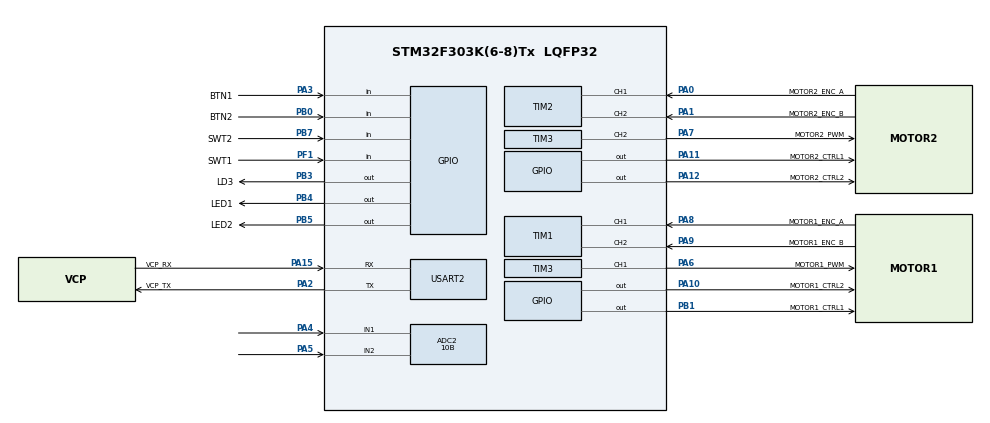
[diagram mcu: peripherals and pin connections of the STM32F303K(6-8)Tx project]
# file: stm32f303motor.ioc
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ADC2.Channel-0\#ChannelRegularConversion=ADC_CHANNEL_1
ADC2.Channel-1\#ChannelRegularConversion=ADC_CHANNEL_2
ADC2.ContinuousConvMode=ENABLE
ADC2.DMAContinuousRequests=ENABLE
ADC2.NbrOfConversion=2
ADC2.NbrOfConversionFlag=1
ADC2.Offset-0\#ChannelRegularConversion=0
ADC2.Offset-1\#ChannelRegularConversion=0
ADC2.OffsetNumber-0\#ChannelRegularConversion=ADC_OFFSET_NONE
ADC2.OffsetNumber-1\#ChannelRegularConversion=ADC_OFFSET_NONE
ADC2.Rank-0\#ChannelRegularConversion=1
ADC2.Rank-1\#ChannelRegularConversion=2
ADC2.Resolution=ADC_RESOLUTION_10B
ADC2.SamplingTime-0\#ChannelRegularConversion=ADC_SAMPLETIME_601CYCLES_5
ADC2.SamplingTime-1\#ChannelRegularConversion=ADC_SAMPLETIME_601CYCLES_5
ADC2.SamplingTimeOPAMP-1\#ChannelRegularConversion=ADC_SAMPLETIME_4CYCLES_5
ADC2.SubFamily=STM32F303x8
Dma.ADC2.0.Direction=DMA_PERIPH_TO_MEMORY
Dma.ADC2.0.Instance=DMA1_Channel2
Dma.ADC2.0.MemDataAlignment=DMA_MDATAALIGN_HALFWORD
Dma.ADC2.0.MemInc=DMA_MINC_ENABLE
Dma.ADC2.0.Mode=DMA_CIRCULAR
Dma.ADC2.0.PeriphDataAlignment=DMA_PDATAALIGN_HALFWORD
Dma.ADC2.0.PeriphInc=DMA_PINC_DISABLE
Dma.ADC2.0.Priority=DMA_PRIORITY_LOW
Dma.Request0=ADC2
Mcu.Family=STM32F3
Mcu.Name=STM32F303K(6-8)Tx
Mcu.Package=LQFP32
Mcu.UserConstants=MOTOR1_ENC_TIM,TIM1;MOTOR_PWM_TIM,TIM3;MOTOR2_ENC_TIM,TIM2;ENC_UPDATE_TIM,TIM6;KEY_CHECK_TIM,TIM7
NVIC.DMA1_Channel2_IRQn=true\:0\:0\:false\:false\:true\:false\:true
NVIC.PriorityGroup=NVIC_PRIORITYGROUP_4
NVIC.TIM6_DAC1_IRQn=true\:0\:0\:false\:false\:true\:true\:true
PA0.GPIO_Label=MOTOR2_ENC_A
PA0.Signal=S_TIM2_CH1_ETR
PA1.GPIO_Label=MOTOR2_ENC_B
PA1.Signal=S_TIM2_CH2
PA10.GPIO_Label=MOTOR1_CTRL2
PA10.Signal=GPIO_Output
PA11.GPIO_Label=MOTOR2_CTRL1
PA11.Signal=GPIO_Output
PA12.GPIO_Label=MOTOR2_CTRL2
PA12.Signal=GPIO_Output
PA13.GPIO_Label=SWDIO
PA13.Mode=Serial_Wire
PA13.Signal=SYS_JTMS-SWDIO
PA14.GPIO_Label=SWCLK
PA14.Mode=Serial_Wire
PA14.Signal=SYS_JTCK-SWCLK
PA15.GPIO_Label=VCP_RX
PA15.Mode=Asynchronous
PA15.Signal=USART2_RX
PA2.GPIO_Label=VCP_TX
PA2.Mode=Asynchronous
PA2.Signal=USART2_TX
PA3.GPIO_Label=BTN1
PA3.GPIO_PuPd=GPIO_PULLUP
PA3.Signal=GPIO_Input
PA4.Mode=IN1-Single-Ended
PA4.Signal=ADC2_IN1
PA5.Mode=IN2-Single-Ended
PA5.Signal=ADC2_IN2
PA6.GPIO_Label=MOTOR1_PWM
PA6.Signal=S_TIM3_CH1
PA7.GPIO_Label=MOTOR2_PWM
PA7.Signal=S_TIM3_CH2
PA8.GPIO_Label=MOTOR1_ENC_A
PA8.Signal=S_TIM1_CH1
PA9.GPIO_Label=MOTOR1_ENC_B
PA9.Signal=S_TIM1_CH2
PB0.GPIO_Label=BTN2
PB0.GPIO_PuPd=GPIO_PULLUP
PB0.Signal=GPIO_Input
PB1.GPIO_Label=MOTOR1_CTRL1
PB1.Signal=GPIO_Output
PB3.GPIO_Label=LD3
PB3.Signal=GPIO_Output
PB4.GPIO_Label=LED1
PB4.Signal=GPIO_Output
PB5.GPIO_Label=LED2
PB5.Signal=GPIO_Output
PB7.GPIO_Label=SWT2
PB7.GPIO_PuPd=GPIO_PULLUP
PB7.Signal=GPIO_Input
PF0\ /\ OSC_IN.GPIO_Label=MCO
PF0\ /\ OSC_IN.Signal=RCC_OSC_IN
PF1\ /\ OSC_OUT.GPIO_Label=SWT1
PF1\ /\ OSC_OUT.GPIO_PuPd=GPIO_PULLUP
PF1\ /\ OSC_OUT.Signal=GPIO_Input
ProjectManager.HeapSize=0x200
ProjectManager.StackSize=0x400
ProjectManager.TargetToolchain=STM32CubeIDE
RCC.AHBFreq_Value=64000000
RCC.APB1CLKDivider=RCC_HCLK_DIV2
RCC.APB1Freq_Value=32000000
RCC.APB1TimFreq_Value=64000000
RCC.APB2Freq_Value=64000000
RCC.APB2TimFreq_Value=64000000
RCC.CortexFreq_Value=64000000
RCC.HCLKFreq_Value=64000000
RCC.HSE_VALUE=8000000
RCC.HSI_VALUE=8000000
RCC.PLLMUL=RCC_PLL_MUL16
RCC.SYSCLKFreq_VALUE=64000000
RCC.SYSCLKSourceVirtual=RCC_SYSCLKSOURCE_PLLCLK
SH.S_TIM1_CH1.0=TIM1_CH1,Encoder_Interface
SH.S_TIM1_CH2.0=TIM1_CH2,Encoder_Interface
SH.S_TIM2_CH1_ETR.0=TIM2_CH1,Encoder_Interface
SH.S_TIM2_CH2.0=TIM2_CH2,Encoder_Interface
SH.S_TIM3_CH1.0=TIM3_CH1,PWM Generation1 CH1
SH.S_TIM3_CH2.0=TIM3_CH2,PWM Generation2 CH2
TIM3.Channel-PWM\ Generation1\ CH1=TIM_CHANNEL_1
TIM3.Channel-PWM\ Generation2\ CH2=TIM_CHANNEL_2
TIM3.Period=1023
TIM6.Period=99
TIM6.Prescaler=63
TIM7.Period=9999
TIM7.Prescaler=63
USART2.VirtualMode-Asynchronous=VM_ASYNC
VP_TIM6_VS_ClockSourceINT.Mode=Enable_Timer
VP_TIM7_VS_ClockSourceINT.Mode=Enable_Timer
board=NUCLEO-F303K8

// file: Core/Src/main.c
/* USER CODE BEGIN Header */
/**
 ******************************************************************************
 * @file           : main.c
 * @brief          : Main program body
 ******************************************************************************
 * @attention
 *
 * <h2><center>&copy; Copyright (c) 2021 STMicroelectronics.
 * All rights reserved.</center></h2>
 *
 * This software component is licensed by ST under BSD 3-Clause license,
 * the "License"; You may not use this file except in compliance with the
 * License. You may obtain a copy of the License at:
 *                        opensource.org/licenses/BSD-3-Clause
 *
 ******************************************************************************
 */
/* USER CODE END Header */
#include "main.h"

void SystemClock_Config(void);
static void MX_GPIO_Init(void);
static void MX_USART2_UART_Init(void);
static void MX_DMA_Init(void);
static void MX_ADC2_Init(void);
static void MX_TIM1_Init(void);
static void MX_TIM2_Init(void);
static void MX_TIM3_Init(void);
static void MX_TIM6_Init(void);
static void MX_TIM7_Init(void);
/* USER CODE BEGIN PFP */
extern void keyTaskInit(void);
extern void encoderTaskInit(void);
extern void adcTaskInit(void);
extern void motorTaskInit(void);
extern void keyTaskProc(TaskResource *);
extern void encoderTaskProc(TaskResource *);
extern void adcTaskProc(TaskResource *);
extern void motorTaskProc(TaskResource *);
/* USER CODE END PFP */

int main(void)
{

  /* MCU Configuration--------------------------------------------------------*/

  /* Reset of all peripherals, Initializes the Flash interface and the Systick. */

  LL_APB2_GRP1_EnableClock(LL_APB2_GRP1_PERIPH_SYSCFG);
  LL_APB1_GRP1_EnableClock(LL_APB1_GRP1_PERIPH_PWR);

  NVIC_SetPriorityGrouping(NVIC_PRIORITYGROUP_4);

  /* System interrupt init*/
  /* SysTick_IRQn interrupt configuration */
  NVIC_SetPriority(SysTick_IRQn, NVIC_EncodePriority(NVIC_GetPriorityGrouping(),15, 0));

  /* Configure the system clock */
  SystemClock_Config();

  /* Initialize all configured peripherals */
  MX_GPIO_Init();
  MX_USART2_UART_Init();
  MX_DMA_Init();
  MX_ADC2_Init();
  MX_TIM1_Init();
  MX_TIM2_Init();
  MX_TIM3_Init();
  MX_TIM6_Init();
  MX_TIM7_Init();
  /* USER CODE BEGIN 2 */
  keyTaskInit();
  encoderTaskInit();
  adcTaskInit();
  motorTaskInit();
  /* USER CODE END 2 */

  /* Infinite loop */
  while (1)
  {

    /* USER CODE BEGIN 3 */
    TaskResource res[2] = {0};
    keyTaskProc(res);
    encoderTaskProc(res);
    adcTaskProc(res);
    motorTaskProc(res);
    LL_GPIO_TogglePin(LD3_GPIO_Port, LD3_Pin);
  }
  /* USER CODE END 3 */
}

void SystemClock_Config(void)
{
  LL_FLASH_SetLatency(LL_FLASH_LATENCY_2);
  while(LL_FLASH_GetLatency()!= LL_FLASH_LATENCY_2)
  {
  }
  LL_RCC_HSI_Enable();

   /* Wait till HSI is ready */
  while(LL_RCC_HSI_IsReady() != 1)
  {

  }
  LL_RCC_HSI_SetCalibTrimming(16);
  LL_RCC_PLL_ConfigDomain_SYS(LL_RCC_PLLSOURCE_HSI_DIV_2, LL_RCC_PLL_MUL_16);
  LL_RCC_PLL_Enable();

   /* Wait till PLL is ready */
  while(LL_RCC_PLL_IsReady() != 1)
  {

  }
  LL_RCC_SetAHBPrescaler(LL_RCC_SYSCLK_DIV_1);
  LL_RCC_SetAPB1Prescaler(LL_RCC_APB1_DIV_2);
  LL_RCC_SetAPB2Prescaler(LL_RCC_APB2_DIV_1);
  LL_RCC_SetSysClkSource(LL_RCC_SYS_CLKSOURCE_PLL);

   /* Wait till System clock is ready */
  while(LL_RCC_GetSysClkSource() != LL_RCC_SYS_CLKSOURCE_STATUS_PLL)
  {

  }
  LL_Init1msTick(64000000);
  LL_SetSystemCoreClock(64000000);
  LL_RCC_SetTIMClockSource(LL_RCC_TIM1_CLKSOURCE_PCLK2);
  LL_RCC_SetADCClockSource(LL_RCC_ADC12_CLKSRC_PLL_DIV_1);
}

static void MX_ADC2_Init(void)
{

  LL_ADC_InitTypeDef ADC_InitStruct = {0};
  LL_ADC_REG_InitTypeDef ADC_REG_InitStruct = {0};

  LL_GPIO_InitTypeDef GPIO_InitStruct = {0};

  /* Peripheral clock enable */
  LL_AHB1_GRP1_EnableClock(LL_AHB1_GRP1_PERIPH_ADC12);

  LL_AHB1_GRP1_EnableClock(LL_AHB1_GRP1_PERIPH_GPIOA);
  /**ADC2 GPIO Configuration
  PA4   ------> ADC2_IN1
  PA5   ------> ADC2_IN2
  */
  GPIO_InitStruct.Pin = LL_GPIO_PIN_4|LL_GPIO_PIN_5;
  GPIO_InitStruct.Mode = LL_GPIO_MODE_ANALOG;
  GPIO_InitStruct.Pull = LL_GPIO_PULL_NO;
  LL_GPIO_Init(GPIOA, &GPIO_InitStruct);

  /* ADC2 DMA Init */

  /* ADC2 Init */
  LL_DMA_SetDataTransferDirection(DMA1, LL_DMA_CHANNEL_2, LL_DMA_DIRECTION_PERIPH_TO_MEMORY);

  LL_DMA_SetChannelPriorityLevel(DMA1, LL_DMA_CHANNEL_2, LL_DMA_PRIORITY_LOW);

  LL_DMA_SetMode(DMA1, LL_DMA_CHANNEL_2, LL_DMA_MODE_CIRCULAR);

  LL_DMA_SetPeriphIncMode(DMA1, LL_DMA_CHANNEL_2, LL_DMA_PERIPH_NOINCREMENT);

  LL_DMA_SetMemoryIncMode(DMA1, LL_DMA_CHANNEL_2, LL_DMA_MEMORY_INCREMENT);

  LL_DMA_SetPeriphSize(DMA1, LL_DMA_CHANNEL_2, LL_DMA_PDATAALIGN_HALFWORD);

  LL_DMA_SetMemorySize(DMA1, LL_DMA_CHANNEL_2, LL_DMA_MDATAALIGN_HALFWORD);

  /** Common config
  */
  ADC_InitStruct.Resolution = LL_ADC_RESOLUTION_10B;
  ADC_InitStruct.DataAlignment = LL_ADC_DATA_ALIGN_RIGHT;
  ADC_InitStruct.LowPowerMode = LL_ADC_LP_MODE_NONE;
  LL_ADC_Init(ADC2, &ADC_InitStruct);
  ADC_REG_InitStruct.TriggerSource = LL_ADC_REG_TRIG_SOFTWARE;
  ADC_REG_InitStruct.SequencerLength = LL_ADC_REG_SEQ_SCAN_ENABLE_2RANKS;
  ADC_REG_InitStruct.SequencerDiscont = LL_ADC_REG_SEQ_DISCONT_DISABLE;
  ADC_REG_InitStruct.ContinuousMode = LL_ADC_REG_CONV_CONTINUOUS;
  ADC_REG_InitStruct.DMATransfer = LL_ADC_REG_DMA_TRANSFER_UNLIMITED;
  ADC_REG_InitStruct.Overrun = LL_ADC_REG_OVR_DATA_OVERWRITTEN;
  LL_ADC_REG_Init(ADC2, &ADC_REG_InitStruct);
  LL_ADC_SetCommonClock(__LL_ADC_COMMON_INSTANCE(ADC2), LL_ADC_CLOCK_ASYNC_DIV1);

  /* Enable ADC internal voltage regulator */
  LL_ADC_EnableInternalRegulator(ADC2);
  /* Delay for ADC internal voltage regulator stabilization. */
  /* Compute number of CPU cycles to wait for, from delay in us. */
  /* Note: Variable divided by 2 to compensate partially */
  /* CPU processing cycles (depends on compilation optimization). */
  /* Note: If system core clock frequency is below 200kHz, wait time */
  /* is only a few CPU processing cycles. */
  uint32_t wait_loop_index;
  wait_loop_index = ((LL_ADC_DELAY_INTERNAL_REGUL_STAB_US * (SystemCoreClock / (100000 * 2))) / 10);
  while(wait_loop_index != 0)
  {
    wait_loop_index--;
  }
  /** Configure Regular Channel
  */
  LL_ADC_REG_SetSequencerRanks(ADC2, LL_ADC_REG_RANK_1, LL_ADC_CHANNEL_1);
  LL_ADC_SetChannelSamplingTime(ADC2, LL_ADC_CHANNEL_1, LL_ADC_SAMPLINGTIME_601CYCLES_5);
  LL_ADC_SetChannelSingleDiff(ADC2, LL_ADC_CHANNEL_1, LL_ADC_SINGLE_ENDED);
  /** Configure Regular Channel
  */
  LL_ADC_REG_SetSequencerRanks(ADC2, LL_ADC_REG_RANK_2, LL_ADC_CHANNEL_2);
  LL_ADC_SetChannelSamplingTime(ADC2, LL_ADC_CHANNEL_2, LL_ADC_SAMPLINGTIME_601CYCLES_5);
  LL_ADC_SetChannelSingleDiff(ADC2, LL_ADC_CHANNEL_2, LL_ADC_SINGLE_ENDED);

}

static void MX_TIM1_Init(void)
{

  LL_TIM_InitTypeDef TIM_InitStruct = {0};

  LL_GPIO_InitTypeDef GPIO_InitStruct = {0};

  /* Peripheral clock enable */
  LL_APB2_GRP1_EnableClock(LL_APB2_GRP1_PERIPH_TIM1);

  LL_AHB1_GRP1_EnableClock(LL_AHB1_GRP1_PERIPH_GPIOA);
  /**TIM1 GPIO Configuration
  PA8   ------> TIM1_CH1
  PA9   ------> TIM1_CH2
  */
  GPIO_InitStruct.Pin = MOTOR1_ENC_A_Pin|MOTOR1_ENC_B_Pin;
  GPIO_InitStruct.Mode = LL_GPIO_MODE_ALTERNATE;
  GPIO_InitStruct.Speed = LL_GPIO_SPEED_FREQ_LOW;
  GPIO_InitStruct.OutputType = LL_GPIO_OUTPUT_PUSHPULL;
  GPIO_InitStruct.Pull = LL_GPIO_PULL_NO;
  GPIO_InitStruct.Alternate = LL_GPIO_AF_6;
  LL_GPIO_Init(GPIOA, &GPIO_InitStruct);

  TIM_InitStruct.Prescaler = 0;
  TIM_InitStruct.CounterMode = LL_TIM_COUNTERMODE_UP;
  TIM_InitStruct.Autoreload = 65535;
  TIM_InitStruct.ClockDivision = LL_TIM_CLOCKDIVISION_DIV1;
  TIM_InitStruct.RepetitionCounter = 0;
  LL_TIM_Init(TIM1, &TIM_InitStruct);
  LL_TIM_DisableARRPreload(TIM1);
  LL_TIM_SetEncoderMode(TIM1, LL_TIM_ENCODERMODE_X2_TI1);
  LL_TIM_IC_SetActiveInput(TIM1, LL_TIM_CHANNEL_CH1, LL_TIM_ACTIVEINPUT_DIRECTTI);
  LL_TIM_IC_SetPrescaler(TIM1, LL_TIM_CHANNEL_CH1, LL_TIM_ICPSC_DIV1);
  LL_TIM_IC_SetFilter(TIM1, LL_TIM_CHANNEL_CH1, LL_TIM_IC_FILTER_FDIV1);
  LL_TIM_IC_SetPolarity(TIM1, LL_TIM_CHANNEL_CH1, LL_TIM_IC_POLARITY_RISING);
  LL_TIM_IC_SetActiveInput(TIM1, LL_TIM_CHANNEL_CH2, LL_TIM_ACTIVEINPUT_DIRECTTI);
  LL_TIM_IC_SetPrescaler(TIM1, LL_TIM_CHANNEL_CH2, LL_TIM_ICPSC_DIV1);
  LL_TIM_IC_SetFilter(TIM1, LL_TIM_CHANNEL_CH2, LL_TIM_IC_FILTER_FDIV1);
  LL_TIM_IC_SetPolarity(TIM1, LL_TIM_CHANNEL_CH2, LL_TIM_IC_POLARITY_RISING);
  LL_TIM_SetTriggerOutput(TIM1, LL_TIM_TRGO_RESET);
  LL_TIM_SetTriggerOutput2(TIM1, LL_TIM_TRGO2_RESET);
  LL_TIM_DisableMasterSlaveMode(TIM1);

}

static void MX_TIM2_Init(void)
{

  LL_TIM_InitTypeDef TIM_InitStruct = {0};

  LL_GPIO_InitTypeDef GPIO_InitStruct = {0};

  /* Peripheral clock enable */
  LL_APB1_GRP1_EnableClock(LL_APB1_GRP1_PERIPH_TIM2);

  LL_AHB1_GRP1_EnableClock(LL_AHB1_GRP1_PERIPH_GPIOA);
  /**TIM2 GPIO Configuration
  PA0   ------> TIM2_CH1
  PA1   ------> TIM2_CH2
  */
  GPIO_InitStruct.Pin = MOTOR2_ENC_A_Pin|MOTOR2_ENC_B_Pin;
  GPIO_InitStruct.Mode = LL_GPIO_MODE_ALTERNATE;
  GPIO_InitStruct.Speed = LL_GPIO_SPEED_FREQ_LOW;
  GPIO_InitStruct.OutputType = LL_GPIO_OUTPUT_PUSHPULL;
  GPIO_InitStruct.Pull = LL_GPIO_PULL_NO;
  GPIO_InitStruct.Alternate = LL_GPIO_AF_1;
  LL_GPIO_Init(GPIOA, &GPIO_InitStruct);

  TIM_InitStruct.Prescaler = 0;
  TIM_InitStruct.CounterMode = LL_TIM_COUNTERMODE_UP;
  TIM_InitStruct.Autoreload = 4294967295;
  TIM_InitStruct.ClockDivision = LL_TIM_CLOCKDIVISION_DIV1;
  LL_TIM_Init(TIM2, &TIM_InitStruct);
  LL_TIM_DisableARRPreload(TIM2);
  LL_TIM_SetEncoderMode(TIM2, LL_TIM_ENCODERMODE_X2_TI1);
  LL_TIM_IC_SetActiveInput(TIM2, LL_TIM_CHANNEL_CH1, LL_TIM_ACTIVEINPUT_DIRECTTI);
  LL_TIM_IC_SetPrescaler(TIM2, LL_TIM_CHANNEL_CH1, LL_TIM_ICPSC_DIV1);
  LL_TIM_IC_SetFilter(TIM2, LL_TIM_CHANNEL_CH1, LL_TIM_IC_FILTER_FDIV1);
  LL_TIM_IC_SetPolarity(TIM2, LL_TIM_CHANNEL_CH1, LL_TIM_IC_POLARITY_RISING);
  LL_TIM_IC_SetActiveInput(TIM2, LL_TIM_CHANNEL_CH2, LL_TIM_ACTIVEINPUT_DIRECTTI);
  LL_TIM_IC_SetPrescaler(TIM2, LL_TIM_CHANNEL_CH2, LL_TIM_ICPSC_DIV1);
  LL_TIM_IC_SetFilter(TIM2, LL_TIM_CHANNEL_CH2, LL_TIM_IC_FILTER_FDIV1);
  LL_TIM_IC_SetPolarity(TIM2, LL_TIM_CHANNEL_CH2, LL_TIM_IC_POLARITY_RISING);
  LL_TIM_SetTriggerOutput(TIM2, LL_TIM_TRGO_RESET);
  LL_TIM_DisableMasterSlaveMode(TIM2);

}

static void MX_TIM3_Init(void)
{

  LL_TIM_InitTypeDef TIM_InitStruct = {0};
  LL_TIM_OC_InitTypeDef TIM_OC_InitStruct = {0};

  LL_GPIO_InitTypeDef GPIO_InitStruct = {0};

  /* Peripheral clock enable */
  LL_APB1_GRP1_EnableClock(LL_APB1_GRP1_PERIPH_TIM3);

  TIM_InitStruct.Prescaler = 0;
  TIM_InitStruct.CounterMode = LL_TIM_COUNTERMODE_UP;
  TIM_InitStruct.Autoreload = 1023;
  TIM_InitStruct.ClockDivision = LL_TIM_CLOCKDIVISION_DIV1;
  LL_TIM_Init(TIM3, &TIM_InitStruct);
  LL_TIM_DisableARRPreload(TIM3);
  LL_TIM_OC_EnablePreload(TIM3, LL_TIM_CHANNEL_CH1);
  TIM_OC_InitStruct.OCMode = LL_TIM_OCMODE_PWM1;
  TIM_OC_InitStruct.OCState = LL_TIM_OCSTATE_DISABLE;
  TIM_OC_InitStruct.OCNState = LL_TIM_OCSTATE_DISABLE;
  TIM_OC_InitStruct.CompareValue = 0;
  TIM_OC_InitStruct.OCPolarity = LL_TIM_OCPOLARITY_HIGH;
  LL_TIM_OC_Init(TIM3, LL_TIM_CHANNEL_CH1, &TIM_OC_InitStruct);
  LL_TIM_OC_DisableFast(TIM3, LL_TIM_CHANNEL_CH1);
  LL_TIM_OC_EnablePreload(TIM3, LL_TIM_CHANNEL_CH2);
  LL_TIM_OC_Init(TIM3, LL_TIM_CHANNEL_CH2, &TIM_OC_InitStruct);
  LL_TIM_OC_DisableFast(TIM3, LL_TIM_CHANNEL_CH2);
  LL_TIM_SetTriggerOutput(TIM3, LL_TIM_TRGO_RESET);
  LL_TIM_DisableMasterSlaveMode(TIM3);
  LL_AHB1_GRP1_EnableClock(LL_AHB1_GRP1_PERIPH_GPIOA);
  /**TIM3 GPIO Configuration
  PA6   ------> TIM3_CH1
  PA7   ------> TIM3_CH2
  */
  GPIO_InitStruct.Pin = MOTOR1_PWM_Pin|MOTOR2_PWM_Pin;
  GPIO_InitStruct.Mode = LL_GPIO_MODE_ALTERNATE;
  GPIO_InitStruct.Speed = LL_GPIO_SPEED_FREQ_LOW;
  GPIO_InitStruct.OutputType = LL_GPIO_OUTPUT_PUSHPULL;
  GPIO_InitStruct.Pull = LL_GPIO_PULL_NO;
  GPIO_InitStruct.Alternate = LL_GPIO_AF_2;
  LL_GPIO_Init(GPIOA, &GPIO_InitStruct);

}

static void MX_TIM6_Init(void)
{

  LL_TIM_InitTypeDef TIM_InitStruct = {0};

  /* Peripheral clock enable */
  LL_APB1_GRP1_EnableClock(LL_APB1_GRP1_PERIPH_TIM6);

  /* TIM6 interrupt Init */
  NVIC_SetPriority(TIM6_DAC1_IRQn, NVIC_EncodePriority(NVIC_GetPriorityGrouping(),0, 0));
  NVIC_EnableIRQ(TIM6_DAC1_IRQn);

  TIM_InitStruct.Prescaler = 63;
  TIM_InitStruct.CounterMode = LL_TIM_COUNTERMODE_UP;
  TIM_InitStruct.Autoreload = 99;
  LL_TIM_Init(TIM6, &TIM_InitStruct);
  LL_TIM_DisableARRPreload(TIM6);
  LL_TIM_SetTriggerOutput(TIM6, LL_TIM_TRGO_RESET);
  LL_TIM_DisableMasterSlaveMode(TIM6);

}

static void MX_TIM7_Init(void)
{

  LL_TIM_InitTypeDef TIM_InitStruct = {0};

  /* Peripheral clock enable */
  LL_APB1_GRP1_EnableClock(LL_APB1_GRP1_PERIPH_TIM7);

  TIM_InitStruct.Prescaler = 63;
  TIM_InitStruct.CounterMode = LL_TIM_COUNTERMODE_UP;
  TIM_InitStruct.Autoreload = 9999;
  LL_TIM_Init(TIM7, &TIM_InitStruct);
  LL_TIM_DisableARRPreload(TIM7);
  LL_TIM_SetTriggerOutput(TIM7, LL_TIM_TRGO_RESET);
  LL_TIM_DisableMasterSlaveMode(TIM7);

}

static void MX_USART2_UART_Init(void)
{

  LL_USART_InitTypeDef USART_InitStruct = {0};

  LL_GPIO_InitTypeDef GPIO_InitStruct = {0};

  /* Peripheral clock enable */
  LL_APB1_GRP1_EnableClock(LL_APB1_GRP1_PERIPH_USART2);

  LL_AHB1_GRP1_EnableClock(LL_AHB1_GRP1_PERIPH_GPIOA);
  /**USART2 GPIO Configuration
  PA2   ------> USART2_TX
  PA15   ------> USART2_RX
  */
  GPIO_InitStruct.Pin = VCP_TX_Pin|VCP_RX_Pin;
  GPIO_InitStruct.Mode = LL_GPIO_MODE_ALTERNATE;
  GPIO_InitStruct.Speed = LL_GPIO_SPEED_FREQ_HIGH;
  GPIO_InitStruct.OutputType = LL_GPIO_OUTPUT_PUSHPULL;
  GPIO_InitStruct.Pull = LL_GPIO_PULL_NO;
  GPIO_InitStruct.Alternate = LL_GPIO_AF_7;
  LL_GPIO_Init(GPIOA, &GPIO_InitStruct);

  USART_InitStruct.BaudRate = 38400;
  USART_InitStruct.DataWidth = LL_USART_DATAWIDTH_8B;
  USART_InitStruct.StopBits = LL_USART_STOPBITS_1;
  USART_InitStruct.Parity = LL_USART_PARITY_NONE;
  USART_InitStruct.TransferDirection = LL_USART_DIRECTION_TX_RX;
  USART_InitStruct.HardwareFlowControl = LL_USART_HWCONTROL_NONE;
  USART_InitStruct.OverSampling = LL_USART_OVERSAMPLING_16;
  LL_USART_Init(USART2, &USART_InitStruct);
  LL_USART_DisableIT_CTS(USART2);
  LL_USART_ConfigAsyncMode(USART2);
  LL_USART_Enable(USART2);

}

static void MX_DMA_Init(void)
{

  /* Init with LL driver */
  /* DMA controller clock enable */
  LL_AHB1_GRP1_EnableClock(LL_AHB1_GRP1_PERIPH_DMA1);

  /* DMA interrupt init */
  /* DMA1_Channel2_IRQn interrupt configuration */
  NVIC_SetPriority(DMA1_Channel2_IRQn, NVIC_EncodePriority(NVIC_GetPriorityGrouping(),0, 0));
  NVIC_EnableIRQ(DMA1_Channel2_IRQn);

}

static void MX_GPIO_Init(void)
{
  LL_GPIO_InitTypeDef GPIO_InitStruct = {0};

  /* GPIO Ports Clock Enable */
  LL_AHB1_GRP1_EnableClock(LL_AHB1_GRP1_PERIPH_GPIOF);
  LL_AHB1_GRP1_EnableClock(LL_AHB1_GRP1_PERIPH_GPIOA);
  LL_AHB1_GRP1_EnableClock(LL_AHB1_GRP1_PERIPH_GPIOB);

  /**/
  LL_GPIO_ResetOutputPin(GPIOB, MOTOR1_CTRL1_Pin|LD3_Pin|LED1_Pin|LED2_Pin);

  /**/
  LL_GPIO_ResetOutputPin(GPIOA, MOTOR1_CTRL2_Pin|MOTOR2_CTRL1_Pin|MOTOR2_CTRL2_Pin);

  /**/
  GPIO_InitStruct.Pin = SWT1_Pin;
  GPIO_InitStruct.Mode = LL_GPIO_MODE_INPUT;
  GPIO_InitStruct.Pull = LL_GPIO_PULL_UP;
  LL_GPIO_Init(SWT1_GPIO_Port, &GPIO_InitStruct);

  /**/
  GPIO_InitStruct.Pin = BTN1_Pin;
  GPIO_InitStruct.Mode = LL_GPIO_MODE_INPUT;
  GPIO_InitStruct.Pull = LL_GPIO_PULL_UP;
  LL_GPIO_Init(BTN1_GPIO_Port, &GPIO_InitStruct);

  /**/
  GPIO_InitStruct.Pin = BTN2_Pin|SWT2_Pin;
  GPIO_InitStruct.Mode = LL_GPIO_MODE_INPUT;
  GPIO_InitStruct.Pull = LL_GPIO_PULL_UP;
  LL_GPIO_Init(GPIOB, &GPIO_InitStruct);

  /**/
  GPIO_InitStruct.Pin = MOTOR1_CTRL1_Pin|LD3_Pin|LED1_Pin|LED2_Pin;
  GPIO_InitStruct.Mode = LL_GPIO_MODE_OUTPUT;
  GPIO_InitStruct.Speed = LL_GPIO_SPEED_FREQ_LOW;
  GPIO_InitStruct.OutputType = LL_GPIO_OUTPUT_PUSHPULL;
  GPIO_InitStruct.Pull = LL_GPIO_PULL_NO;
  LL_GPIO_Init(GPIOB, &GPIO_InitStruct);

  /**/
  GPIO_InitStruct.Pin = MOTOR1_CTRL2_Pin|MOTOR2_CTRL1_Pin|MOTOR2_CTRL2_Pin;
  GPIO_InitStruct.Mode = LL_GPIO_MODE_OUTPUT;
  GPIO_InitStruct.Speed = LL_GPIO_SPEED_FREQ_LOW;
  GPIO_InitStruct.OutputType = LL_GPIO_OUTPUT_PUSHPULL;
  GPIO_InitStruct.Pull = LL_GPIO_PULL_NO;
  LL_GPIO_Init(GPIOA, &GPIO_InitStruct);

}

void Error_Handler(void)
{
  __disable_irq();
  while (1)
  {
  }
}

/************************ (C) COPYRIGHT STMicroelectronics *****END OF FILE****/
